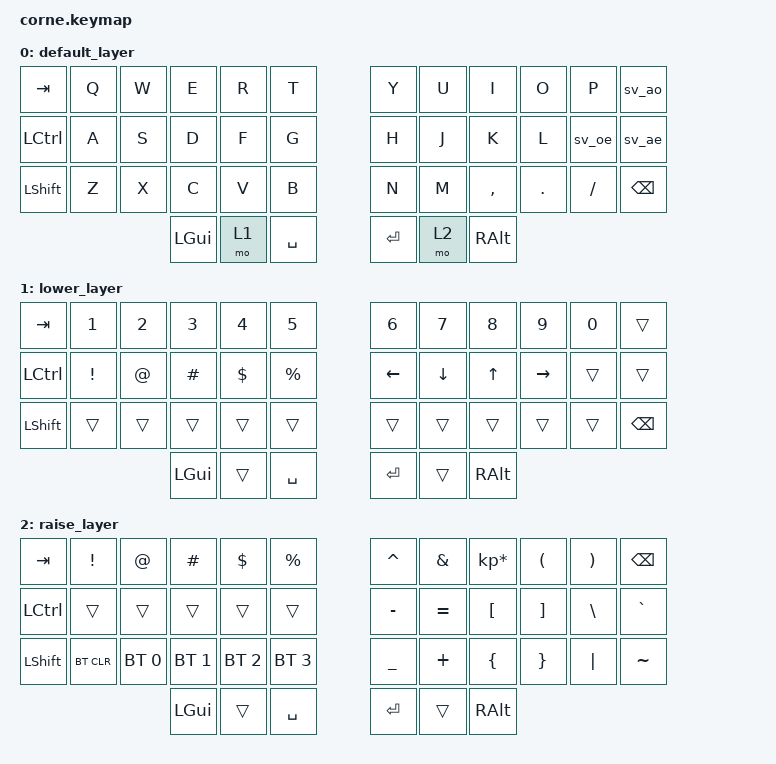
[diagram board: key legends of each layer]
/*
 * Copyright (c) 2020 The ZMK Contributors
 *
 * SPDX-License-Identifier: MIT
 */

#include <behaviors.dtsi>
#include <dt-bindings/zmk/keys.h>
#include <dt-bindings/zmk/bt.h>
#define HOST_OS 0
#include "../config/zmkhelper.h"

ZMK_UNICODE_PAIR(sv_ae,   N0, N0,  E, N4,   N0, N0,  C, N4)
ZMK_UNICODE_PAIR(sv_ao,   N0, N0,  E, N5,   N0, N0,  C, N5)
ZMK_UNICODE_PAIR(sv_oe,   N0, N0,  F, N6,   N0, N0,  D, N6)


/ {
        keymap {
                compatible = "zmk,keymap";

                default_layer {
// -----------------------------------------------------------------------------------------
// |  TAB |  Q  |  W  |  E  |  R  |  T  |   |  Y  |  U   |  I  |  O  |  P  |  Å   |
// | CTRL |  A  |  S  |  D  |  F  |  G  |   |  H  |  J   |  K  |  L  |  Ö  |  Ä   |
// | SHFT |  Z  |  X  |  C  |  V  |  B  |   |  N  |  M   |  ,  |  .  |  /  | BKSP |
//                    | GUI | LWR | SPC |   | ENT | RSE  | ALT |
                        bindings = <
   &kp TAB   &kp Q &kp W &kp E &kp R &kp T   &kp Y &kp U  &kp I     &kp O   &kp P    &sv_ao
   &kp LCTRL &kp A &kp S &kp D &kp F &kp G   &kp H &kp J  &kp K     &kp L   &sv_oe   &sv_ae
   &kp LSHFT &kp Z &kp X &kp C &kp V &kp B   &kp N &kp M  &kp COMMA &kp DOT &kp FSLH &kp BKSP
                  &kp LGUI &mo 1 &kp SPACE   &kp RET &mo 2 &kp RALT
                        >;
                };
                lower_layer {
// -----------------------------------------------------------------------------------------
// |  TAB |  !  |  @  |  #  |  $  |  %  |   |  6  |  7  |  8  |  9  |  0  |      |
// | CTRL |  1  |  2  |  3  |  4  |  5  |   | LFT | DWN |  UP | RGT |     |      |
// | SHFT |     |     |     |     |     |   |     |     |     |     |     | BKSP |
//                    | GUI |     | SPC |   | ENT |     | ALT |
                        bindings = <
    &kp  TAB    &kp N1      &kp N2  &kp N3      &kp N4      &kp N5      &kp N6     &kp N7    &kp N8   &kp N9      &kp N0  &trans
    &kp LCTRL   &kp EXCL    &kp AT  &kp HASH    &kp DLLR    &kp PRCNT        &kp LEFT   &kp DOWN  &kp UP   &kp RIGHT   &trans  &trans
    &kp LSHFT   &trans      &trans  &trans      &trans      &trans         &trans     &trans    &trans   &trans      &trans  &kp BKSP
                                    &kp LGUI    &trans      &kp SPACE      &kp RET    &trans   &kp RALT
                        >;
                };

                raise_layer {
// -----------------------------------------------------------------------------------------
// |  TAB |  !  |  @  |  #  |  $  |  %  |   |  ^  |  &  |  *  |  (  |  )  | BKSP |
// | CTRL |     |     |     |     |     |   |  -  |  =  |  [  |  ]  |  \  |  `   |
// | SHFT |BTCLR| BT1 | BT2 | BT3 |     |   |  _  |  +  |  {  |  }  | "|" |  ~   |
//                    | GUI |     | SPC |   | ENT |     | ALT |
                        bindings = <
   &kp  TAB  &kp EXCL &kp AT &kp HASH &kp DLLR &kp PRCNT   &kp CARET &kp AMPS  &kp KP_MULTIPLY &kp LPAR &kp RPAR &kp BSPC
   &kp LCTRL &trans   &trans &trans   &trans   &trans      &kp MINUS &kp EQUAL &kp LBKT        &kp RBKT &kp BSLH &kp GRAVE
   &kp LSHFT  &bt BT_CLR &bt BT_SEL 0 &bt BT_SEL 1 &bt BT_SEL 2 &bt BT_SEL 3  &kp UNDER &kp PLUS  &kp LBRC        &kp RBRC &kp PIPE &kp TILDE
                             &kp LGUI &trans   &kp SPACE   &kp RET   &trans    &kp RALT
                        >;
                };
        };
};


        raise_layer {
// -----------------------------------------------------------------------------------------
// | GUI    |   /  |   7  |   8  |   9   |  -  |    | VOLU | HOME |  UP   | PGUP | CUT   | S-CPY  |
// | CTRL/= |   *  |   4  |   5  |   6   |  +  |    | MUT  | LEFT | DOWN  | RGHT | PASTE | CTRL/" |
// | ALT/.  |   0  |   1  |   2  |   3   |  ,  |    | VOLD | END  | PRINT | PGDN | COPY  | ALT/`  |
//            | ZMK/ESC | SHFT/TAB | LOWER/SPC |    | LOWER/ENT  | SHFT/BACK  | ZMK/DEL |
            bindings = <
    &kp LGUI          &kp SE_SLSH   &kp SE_N7 &kp SE_N8  &kp SE_N9     &kp SE_MINS          &kp C_PLAY_PAUSE  &kp HOME   &kp UP     &kp PG_UP  &kp RG(SE_X)  &kp RA(RS(RG(SE_V)))
    &mt LCTRL SE_LCBR &kp SE_ASTR   &kp SE_N4 &kp SE_N5  &kp SE_N6     &kp SE_PLUS          &kp C_NEXT        &kp LEFT   &kp DOWN   &kp RIGHT  &kp RG(SE_V)  &mt RCTRL SE_PLUS
    &mt LALT SE_ACUT  &kp SE_N0     &kp SE_N1 &kp SE_N2  &kp SE_N3     &kp SE_COMM          &kp C_PREVIOUS    &kp END    &kp PSCRN  &kp PG_DN  &kp RG(SE_C)  &mt RALT SE_GRV
                                         &lt L_ZMK ESC   &mt LSHFT TAB &lt LOWER SPACE      &lt LOWER RET     &mt RSHFT BACKSPACE   &lt L_ZMK DEL
            >;
        };





//        lower_layer {
// -----------------------------------------------------------------------------------------
// | GUI    |   !  |   @  |   #  |   $   |   %  |    |   ^  |   &   |   *  |   (  |   )  |        |
// | CTRL   |   1  |   2  |   3  |   4   |   5  |    |   -  |   =   |   [  |   ]  |   \  |   +    |
// | SHIFT  |   6  |   7  |   8  |   9   |   0  |    |   _  |   +   |   {  |   }  |   0  |  BKSP  |
//             |  WIN   |  NONE   | LOWER/SPC |    | LOWER/ENT  | SHFT/BACK  | ZMK/DEL |
            bindings = <
    &kp TAB     &kp SE_EXLM     &kp SE_AT   &kp SE_HASH     &kp SE_DLR      &kp SE_PERC         &kp SE_CIRC    &kp SE_AMPR    &kp SE_ASTR    &kp SE_LPRN    &kp SE_RPRN    &trans
    &kp LCTRL   &kp SE_N1       &kp SE_N2   &kp SE_N3       &kp SE_N4       &kp SE_N5           &kp SE_MINS    &kp SE_EQL     &kp SE_LBRC    &kp SE_RBRC    &kp SE_BSLS    &trans
    &kp LSHIFT  &kp SE_N6       &kp SE_N7   &kp SE_N8       &kp SE_N9       kp SE_N0            &kp SE_UNDS    &kp SE_PLUS    &kp SE_LCBR    &kp SE_RCBR    &trans    &trans
                                                    &kp GUI  &trans &kp SPACE                       &kp RET  &trans  &kp RALT
            >;
        };



                       lower_layer {
// -----------------------------------------------------------------------------------------
// |  TAB |  !  |  @  |  #  |  $  |  %  |   |  6  |  7  |  8  |  9  |  0  |      |
// | CTRL |  1  |  2  |  3  |  4  |  5  |   | LFT | DWN |  UP | RGT |     |      |
// | SHFT |     |     |     |     |     |   |     |     |     |     |     | BKSP |
//                    | GUI |     | SPC |   | ENT |     | ALT |
                        bindings = <
    &kp  TAB    &kp N1      &kp N2  &kp N3      &kp N4      &kp N5      &kp N6     &kp N7    &kp N8   &kp N9   &kp N0  &trans
    &kp LCTRL   &kp EXCL    &kp AT  &kp HASH    &kp DLLR    &kp PRCNT        &kp LEFT   &kp DOWN  &kp UP   &kp RIGHT   &trans  &trans
    &kp LSHFT   &trans      &trans  &trans      &trans      &trans         &trans     &trans    &trans   &trans      &trans  &kp BKSP
                                    &kp LGUI    &trans      &kp SPACE      &kp RET    &trans   &kp RALT
                        >;
                };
